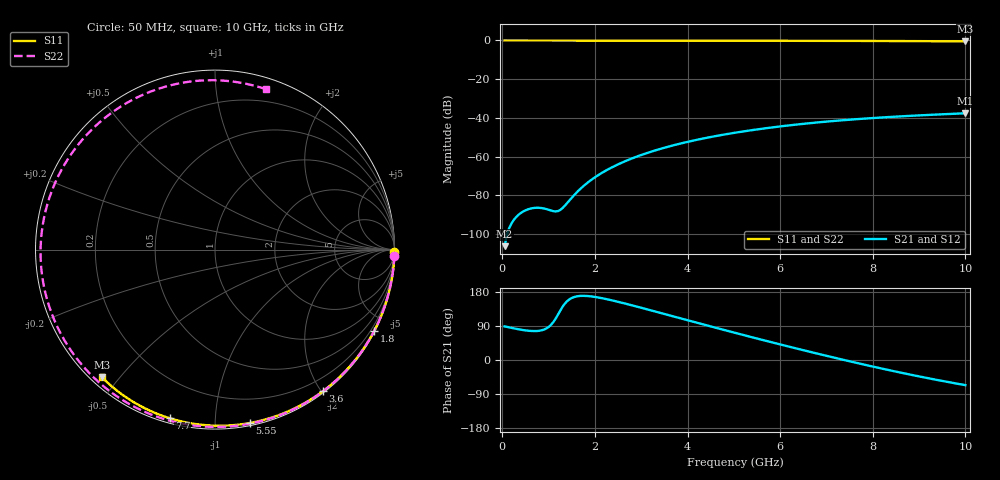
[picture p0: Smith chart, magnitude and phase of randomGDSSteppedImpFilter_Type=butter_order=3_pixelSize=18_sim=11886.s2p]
! freq	dB(S11)	phase(S11)	dB(S12)	phase(S12)
!  dB(S21)	phase(S21)	dB(S22)	phase(S22)
!S-par simulation data
#  GHz  S  DB  R 50
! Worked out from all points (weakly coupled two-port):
!   200 points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, 50 MHz to 10 GHz, reference 50 ohm
!   highest |S21| = -37.62 dB at 10 GHz (marker M1); lowest = -106.3 dB at 50 MHz (marker M2)
!   lowest |S11| = -0.4 dB at 10 GHz (marker M3), VSWR 39.06, Z = 1.54 - j22.5 ohm
!   |S11| at or under -10 dB: nowhere
!   |S22| runs from -0.6 to 0.0 dB; largest |S21 - S12| = 0
!   S11 on the Smith chart (normalised r, x): 50 MHz: open; 1.8 GHz: 0.04, -4.17; 3.6 GHz: 0.02, -2.02; 5.55 GHz: 0.02, -1.22; 7.7 GHz: 0.02, -0.77; 10 GHz: 0.03, -0.45
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0.05  -0.00 -0.8  -106.29 88.8  -106.29 88.8  -0.00 -2.0
0.4  -0.01 -6.1  -89.15 80.0  -89.15 80.0  -0.02 -15.8
0.75  -0.01 -11.3  -86.43 76.6  -86.43 76.6  -0.04 -29.4
1.15  -0.02 -17.3  -88.34 108.8  -88.34 108.8  -0.06 -44.5
1.55  -0.03 -23.3  -79.94 166.1  -79.94 166.1  -0.07 -59.1
1.75  -0.03 -26.2  -75.29 169.3  -75.29 169.3  -0.08 -66.1
1.8  -0.03 -26.9  -74.28 169.2  -74.28 169.2  -0.08 -67.9
2.1  -0.04 -31.3  -69.16 164.4  -69.16 164.4  -0.09 -78.1
2.45  -0.05 -36.4  -64.59 155.1  -64.59 155.1  -0.11 -89.5
2.9  -0.06 -42.9  -60.05 141.1  -60.05 141.1  -0.12 -103.4
3.4  -0.07 -49.9  -56.11 124.8  -56.11 124.8  -0.14 -118.0
3.6  -0.07 -52.7  -54.77 118.2  -54.77 118.2  -0.14 -123.6
4.35  -0.09 -62.9  -50.59 93.5  -50.59 93.5  -0.17 -143.7
5.05  -0.11 -72.2  -47.58 70.9  -47.58 70.9  -0.21 -161.4
5.55  -0.13 -78.7  -45.80 55.1  -45.80 55.1  -0.23 -173.7
6.1  -0.15 -85.7  -44.13 38.0  -44.13 38.0  -0.27 173.1
6.7  -0.18 -93.1  -42.60 19.9  -42.60 19.9  -0.30 158.6
7.2  -0.21 -99.1  -41.51 5.2  -41.51 5.2  -0.34 146.4
7.7  -0.24 -105.1  -40.58 -9.0  -40.58 -9.0  -0.37 134.0
8.35  -0.29 -112.7  -39.56 -26.7  -39.56 -26.7  -0.42 117.4
9.2  -0.36 -122.4  -38.48 -48.2  -38.48 -48.2  -0.49 94.7
10  -0.44 -131.5  -37.62 -66.4  -37.62 -66.4  -0.56 72.5
